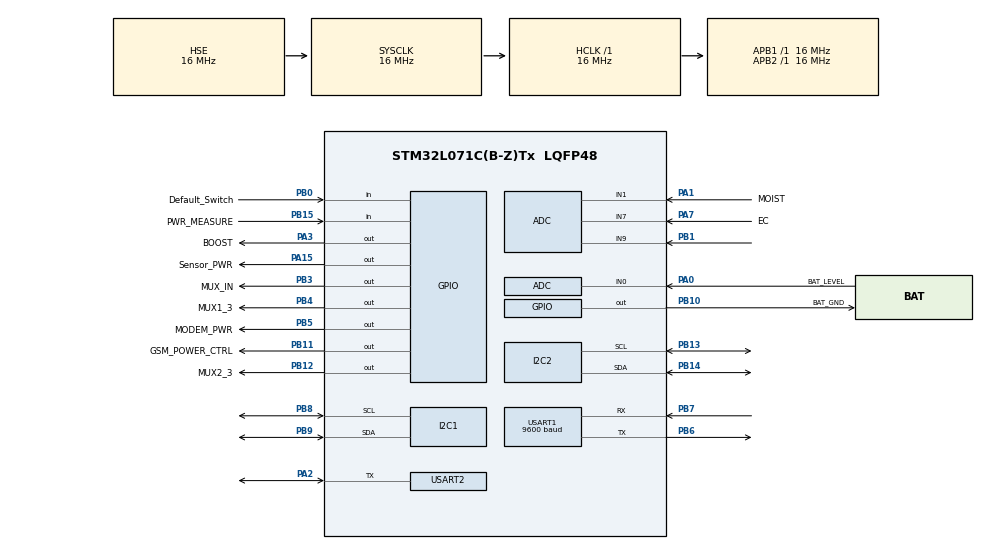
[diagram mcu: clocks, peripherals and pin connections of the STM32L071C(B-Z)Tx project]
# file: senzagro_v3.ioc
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ADC.ContinuousConvMode=ENABLE
ADC.SamplingTime=ADC_SAMPLETIME_3CYCLES_5
I2C1.Timing=0x00303D5B
I2C2.Timing=0x00303D5B
IWDG.Prescaler=IWDG_PRESCALER_256
Mcu.Family=STM32L0
Mcu.Name=STM32L071C(B-Z)Tx
Mcu.Package=LQFP48
NVIC.ADC1_COMP_IRQn=true\:0\:0\:false\:false\:true\:true\:true\:true
NVIC.RTC_IRQn=true\:0\:0\:false\:false\:true\:true\:true\:true
NVIC.USART1_IRQn=true\:3\:0\:true\:false\:true\:true\:true\:true
NVIC.USART2_IRQn=true\:0\:0\:false\:false\:true\:true\:true\:true
PA0.GPIO_Label=BAT_LEVEL
PA0.Mode=IN0
PA0.Signal=ADC_IN0
PA1.GPIO_Label=MOIST
PA1.Mode=IN1
PA1.Signal=ADC_IN1
PA15.GPIO_Label=Sensor_PWR
PA15.Signal=GPIO_Output
PA2.Mode=Half_duplex(single_wire_mode)
PA2.Signal=USART2_TX
PA3.GPIO_Label=BOOST
PA3.Signal=GPIO_Output
PA7.GPIO_Label=EC
PA7.Mode=IN7
PA7.Signal=ADC_IN7
PB0.GPIO_Label=Default_Switch
PB0.Signal=GPIO_Input
PB1.Mode=IN9
PB1.Signal=ADC_IN9
PB10.GPIO_Label=BAT_GND
PB10.Signal=GPIO_Output
PB11.GPIO_Label=GSM_POWER_CTRL
PB11.Signal=GPIO_Output
PB12.GPIO_Label=MUX2_3
PB12.Signal=GPIO_Output
PB13.Mode=I2C
PB13.Signal=I2C2_SCL
PB14.Mode=I2C
PB14.Signal=I2C2_SDA
PB15.GPIO_Label=PWR_MEASURE
PB15.Signal=GPIO_Input
PB3.GPIO_Label=MUX_IN
PB3.Signal=GPIO_Output
PB4.GPIO_Label=MUX1_3
PB4.Signal=GPIO_Output
PB5.GPIO_Label=MODEM_PWR
PB5.Signal=GPIO_Output
PB6.Mode=Asynchronous
PB6.Signal=USART1_TX
PB7.Mode=Asynchronous
PB7.Signal=USART1_RX
PB8.Mode=I2C
PB8.Signal=I2C1_SCL
PB9.Mode=I2C
PB9.Signal=I2C1_SDA
PC14-OSC32_IN.Mode=LSE-External-Oscillator
PC14-OSC32_IN.Signal=RCC_OSC32_IN
PC15-OSC32_OUT.Mode=LSE-External-Oscillator
PC15-OSC32_OUT.Signal=RCC_OSC32_OUT
PH0-OSC_IN.Mode=HSE-External-Oscillator
PH0-OSC_IN.Signal=RCC_OSC_IN
PH1-OSC_OUT.Mode=HSE-External-Oscillator
PH1-OSC_OUT.Signal=RCC_OSC_OUT
ProjectManager.HeapSize=0x200
ProjectManager.StackSize=0x400
ProjectManager.TargetToolchain=STM32CubeIDE
RCC.AHBFreq_Value=16000000
RCC.APB1Freq_Value=16000000
RCC.APB1TimFreq_Value=16000000
RCC.APB2Freq_Value=16000000
RCC.APB2TimFreq_Value=16000000
RCC.HCLKFreq_Value=16000000
RCC.HSE_VALUE=16000000
RCC.HSI16_VALUE=16000000
RCC.HSI_VALUE=16000000
RCC.MSI_VALUE=2097000
RCC.PLLDIV=RCC_PLLDIV_3
RCC.PLLSourceVirtual=RCC_PLLSOURCE_HSE
RCC.RTCClockSelection=RCC_RTCCLKSOURCE_LSE
RCC.RTCClockSelectionVirtual=RCC_RTCCLKSOURCE_LSE
RCC.SYSCLKFreq_VALUE=16000000
RCC.SYSCLKSource=RCC_SYSCLKSOURCE_HSE
RCC.VCOOutputFreq_Value=48000000
RTC.Format=RTC_FORMAT_BIN
RTC.WakeUpClock-WakeUp=RTC_WAKEUPCLOCK_RTCCLK_DIV16
RTC.WakeUpCounter-WakeUp=40960
USART1.BaudRate=9600
USART1.VirtualMode-Asynchronous=VM_ASYNC
USART2.BaudRate=9600
USART2.VirtualMode-Half_duplex(single_wire_mode)=VM_ASYNC
VP_ADC_TempSens_Input.Mode=IN-TempSens
VP_ADC_Vref_Input.Mode=IN-Vrefint
VP_IWDG_VS_IWDG.Mode=IWDG_Activate
VP_RTC_VS_RTC_Activate.Mode=RTC_Enabled
VP_RTC_VS_RTC_Calendar.Mode=RTC_Calendar
VP_RTC_VS_RTC_WakeUp_intern.Mode=WakeUp
board=custom

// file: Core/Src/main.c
/* USER CODE BEGIN Header */
/* USER CODE END Header */
#include "main.h"
#include "adc.h"
#include "i2c.h"
#include "iwdg.h"
#include "rtc.h"
#include "usart.h"
#include "gpio.h"

/* USER CODE BEGIN Includes */
#include "stm32l0xx_hal_def.h"
#include "stm32l0xx_hal.h"
#include <stdio.h>
#include <string.h>
#include <stdlib.h>
#include <math.h>

#include <ctype.h>
#include <flash_queue.h>
#include <app_conf.h>
#include <sensor_read.h>
#include <rm_config_block.h>
#include <bl_interface.h>
/* USER CODE END Includes */

/* USER CODE BEGIN PM */
//
/* USER CODE END PM */

/* USER CODE BEGIN PV */
uint32_t software_version = 30400;
/* USER CODE END PV */

void SystemClock_Config(void);
/* USER CODE BEGIN PFP */
void MainLoop();
sensor_reading get_sensor_readings();
void prepare_mqtt_msg(sensor_reading *sensor, char *mqtt);
void get_time(sensor_reading *sensor);
void store_to_flash(sensor_reading *sensor);
void publish_from_flash(int tries);
/* USER CODE END PFP */

/* USER CODE BEGIN 0 */
uint8_t wakeup = 0;
uint8_t remote_conf = 0;
flash_queue_t flashqueue;
int error = 100;
RM_ConfigBlock rm_config = {0};

/* USER CODE END 0 */

int main(void)
{
  /* USER CODE BEGIN 1 */
	//
  /* USER CODE END 1 */

  /* MCU Configuration--------------------------------------------------------*/

  /* Reset of all peripherals, Initializes the Flash interface and the Systick. */
  HAL_Init();

  /* Configure the system clock */
  SystemClock_Config();

  /* Initialize all configured peripherals */
  MX_GPIO_Init();
  MX_USART1_UART_Init();
  MX_IWDG_Init();
  MX_RTC_Init();
  MX_ADC_Init();
  MX_I2C1_Init();
  MX_I2C2_Init();
  MX_USART2_UART_Init();
  /* USER CODE BEGIN 2 */
  HAL_UART_DeInit(&huart1);
  HAL_UART_DeInit(&huart2);
  HAL_ADC_DeInit(&hadc);
  HAL_I2C_DeInit(&hi2c1);
  HAL_I2C_DeInit(&hi2c2);

  HAL_IWDG_Refresh(&hiwdg);
  error = config_rm_block_init(&rm_config);
  HAL_IWDG_Refresh(&hiwdg);

  flash_queue_init(&flashqueue);
  wakeup = 1;
  remote_conf = 1;
  HAL_IWDG_Refresh(&hiwdg);
  fota_flag_check_on_boot();
  HAL_IWDG_Refresh(&hiwdg);
  /* USER CODE END 2 */

  /* Infinite loop */
  /* USER CODE BEGIN WHILE */

	while (1)
	{
		MainLoop();
	}
    /* USER CODE END WHILE */

}

void SystemClock_Config(void)
{
  RCC_OscInitTypeDef RCC_OscInitStruct = {0};
  RCC_ClkInitTypeDef RCC_ClkInitStruct = {0};
  RCC_PeriphCLKInitTypeDef PeriphClkInit = {0};

  /** Configure the main internal regulator output voltage
  */
  __HAL_PWR_VOLTAGESCALING_CONFIG(PWR_REGULATOR_VOLTAGE_SCALE1);

  /** Configure LSE Drive Capability
  */
  HAL_PWR_EnableBkUpAccess();
  __HAL_RCC_LSEDRIVE_CONFIG(RCC_LSEDRIVE_LOW);

  /** Initializes the RCC Oscillators according to the specified parameters
  * in the RCC_OscInitTypeDef structure.
  */
  RCC_OscInitStruct.OscillatorType = RCC_OSCILLATORTYPE_LSI|RCC_OSCILLATORTYPE_HSE
                              |RCC_OSCILLATORTYPE_LSE;
  RCC_OscInitStruct.HSEState = RCC_HSE_ON;
  RCC_OscInitStruct.LSEState = RCC_LSE_ON;
  RCC_OscInitStruct.LSIState = RCC_LSI_ON;
  RCC_OscInitStruct.PLL.PLLState = RCC_PLL_NONE;
  if (HAL_RCC_OscConfig(&RCC_OscInitStruct) != HAL_OK)
  {
    Error_Handler();
  }

  /** Initializes the CPU, AHB and APB buses clocks
  */
  RCC_ClkInitStruct.ClockType = RCC_CLOCKTYPE_HCLK|RCC_CLOCKTYPE_SYSCLK
                              |RCC_CLOCKTYPE_PCLK1|RCC_CLOCKTYPE_PCLK2;
  RCC_ClkInitStruct.SYSCLKSource = RCC_SYSCLKSOURCE_HSE;
  RCC_ClkInitStruct.AHBCLKDivider = RCC_SYSCLK_DIV1;
  RCC_ClkInitStruct.APB1CLKDivider = RCC_HCLK_DIV1;
  RCC_ClkInitStruct.APB2CLKDivider = RCC_HCLK_DIV1;

  if (HAL_RCC_ClockConfig(&RCC_ClkInitStruct, FLASH_LATENCY_0) != HAL_OK)
  {
    Error_Handler();
  }
  PeriphClkInit.PeriphClockSelection = RCC_PERIPHCLK_USART1|RCC_PERIPHCLK_USART2
                              |RCC_PERIPHCLK_I2C1|RCC_PERIPHCLK_RTC;
  PeriphClkInit.Usart1ClockSelection = RCC_USART1CLKSOURCE_PCLK2;
  PeriphClkInit.Usart2ClockSelection = RCC_USART2CLKSOURCE_PCLK1;
  PeriphClkInit.I2c1ClockSelection = RCC_I2C1CLKSOURCE_PCLK1;
  PeriphClkInit.RTCClockSelection = RCC_RTCCLKSOURCE_LSE;
  if (HAL_RCCEx_PeriphCLKConfig(&PeriphClkInit) != HAL_OK)
  {
    Error_Handler();
  }
}

/* USER CODE BEGIN 4 */

void MainLoop(){
	if(wakeup){
		wakeup = 0;
		HAL_Delay(1000);
		HAL_IWDG_Refresh(&hiwdg);
		int battery = Read_Battery_Leval();
		sensor_reading new_reading = {0};

		//for testing
		// battery = 275;
		if(battery >= 270){
			//full process (read sensor and publish to server)
			HAL_IWDG_Refresh(&hiwdg);
			new_reading = get_sensor_readings();

			if(!MQTT_Ready){
				HAL_IWDG_Refresh(&hiwdg);
				HAL_UART_Init(&huart1);
				MQTT_Init(rm_config.apn, rm_config.mqtt_host, rm_config.mqtt_port, rm_config.mqtt_id,
						rm_config.mqtt_username, rm_config.mqtt_password, KEEP_ALIVE, PING_TIME);
				error = MQTT_Connect();
			}
#ifdef EXTRA_MQTT_CON_TRY
			if(error <= 0){
				//connection failed
				MQTT_Process();
			}
#endif

			if(MQTT_Ready){
				HAL_IWDG_Refresh(&hiwdg);
				get_time(&new_reading);
				new_reading.signal_strength = signalStrength;
				//publish from flash
				publish_from_flash(2);

				if(MQTT_Ready){
					//publish current data
					HAL_IWDG_Refresh(&hiwdg);
					char mqtt_msg[150] = {0};
					prepare_mqtt_msg(&new_reading, mqtt_msg);
					MQTT_Publish(rm_config.mqtt_pub_topic, mqtt_msg, 0);
				}

				if(!MQTT_Ready){
					//stored to flash
					HAL_IWDG_Refresh(&hiwdg);
					store_to_flash(&new_reading);
				}
			}else{
				//stored to flash
				HAL_IWDG_Refresh(&hiwdg);
				store_to_flash(&new_reading);
			}

			if(!remote_conf){
				HAL_IWDG_Refresh(&hiwdg);
				HAL_UART_DeInit(&huart1);
				GSM_OFF();
			}
		}else if(battery >= 261){
			//only sensor reading
			HAL_IWDG_Refresh(&hiwdg);
			new_reading = get_sensor_readings();
			//store on the flash
			HAL_IWDG_Refresh(&hiwdg);
			store_to_flash(&new_reading);
			remote_conf = 0;
		}else{
			remote_conf = 0;
		}

		if(remote_conf){
			HAL_IWDG_Refresh(&hiwdg);
			Mqtt_sub_str mqtt = {0};
			memcpy(mqtt.topic[0],rm_config.mqtt_rm_conf_topic,strlen(rm_config.mqtt_rm_conf_topic));
			mqtt.qos[0] = 0;
			mqtt.no_of_topics = 1;
			error = MQTT_Subscribe(&mqtt);

			if(error){
				HAL_IWDG_Refresh(&hiwdg);
				remote_conf = 0;
				if(mqtt_queue_count(&mqtt_data_queue)){
					set_rm_config_via_remote(&rm_config, &mqtt_data_queue);
					HAL_IWDG_Refresh(&hiwdg);
				}
			}
			HAL_IWDG_Refresh(&hiwdg);
			HAL_UART_DeInit(&huart1);
			GSM_OFF();
		}
	}

	HAL_IWDG_Refresh(&hiwdg);
	HAL_SuspendTick();
	HAL_PWR_EnterSTOPMode(PWR_LOWPOWERREGULATOR_ON, PWR_STOPENTRY_WFI);

	HAL_ResumeTick();
	SystemClock_Config();
	HAL_IWDG_Refresh(&hiwdg);
}

sensor_reading get_sensor_readings(){
	HAL_IWDG_Refresh(&hiwdg);
	PowerUp_Sensors();
#ifdef SHT2x_EN
	SHT2x_Sensor_Init();
#endif
	HAL_Delay(5000);
	HAL_IWDG_Refresh(&hiwdg);

	sensor_reading sensor = {0};
#ifdef SHT2x_Temp_EN
	sensor.SHT2x_temp = Read_Temp_SHT2x();
	HAL_IWDG_Refresh(&hiwdg);
#endif
#ifdef SHT2x_RH_EN
	sensor.SHT2x_rh = Read_RH_SHT2x();
	HAL_IWDG_Refresh(&hiwdg);
#endif
#ifdef Moist_EC_EN
	sensor.soil_moist = Read_Soil_Moisture();
	sensor.soil_ec = Read_Soil_EC();
	HAL_IWDG_Refresh(&hiwdg);
#endif
#ifdef Irro_EN
	sensor.irrometer = Read_Irrometer(3);
	HAL_IWDG_Refresh(&hiwdg);
#endif
#ifdef Light_EN
	sensor.light = Read_Light_BH1750();
	HAL_IWDG_Refresh(&hiwdg);
#endif
#ifdef DS18B20_Temp_EN
	sensor.DS18B20_temp = Read_Temp_DS18B20();
	HAL_IWDG_Refresh(&hiwdg);
#endif
	sensor.internal_temp = Read_Internal_Temp();
	sensor.battery = Read_Battery_Leval();
	HAL_IWDG_Refresh(&hiwdg);
#ifdef Power_status_EN
	sensor.power_status = Read_Power_Status();
	HAL_IWDG_Refresh(&hiwdg);
#endif
	sensor.signal_strength = signalStrength;

	get_time(&sensor);
	HAL_IWDG_Refresh(&hiwdg);

#ifdef SHT2x_EN
	SHT2x_Sensor_DeInit();
#endif
	PowerDown_Sensors();
	HAL_IWDG_Refresh(&hiwdg);
	return sensor;
}

void prepare_mqtt_msg(sensor_reading *sensor, char *mqtt){
	int sensor_count = 0;
	char data_array[15][35] = {0};
	HAL_IWDG_Refresh(&hiwdg);

	//date and time
	if(((sensor->timestamp.month == 0) && (sensor->timestamp.day == 0)
			&& (sensor->timestamp.hour == 0) && (sensor->timestamp.min == 0))){
		sprintf(data_array[0],"DT:0|");
		strncat(mqtt, data_array[0], strlen(data_array[0]));
		memset(data_array[0], 0, sizeof(data_array[0]));
	}else{
		sprintf(data_array[0],"ZZ:%02d%02d%02d%02d/%s|", sensor->timestamp.month, sensor->timestamp.day,
				sensor->timestamp.hour, sensor->timestamp.min, timeZone);
		strncat(mqtt, data_array[0], strlen(data_array[0]));
		memset(data_array[0], 0, sizeof(data_array[0]));
	}

#ifdef SHT2x_Temp_EN
	//SHT2x temperature
	sprintf(data_array[1],"-%s:%.2f;", rm_config.D_label.temp, sensor->SHT2x_temp);
#endif

#ifdef SHT2x_RH_EN
	//SHT2x relative humidity
	sprintf(data_array[2],"-%s:%.2f;", rm_config.D_label.rh, sensor->SHT2x_rh);
#endif

#ifdef Moist_EC_EN
	//soil moisture and EC
	sprintf(data_array[3],"-%s:%03d/%03d;", rm_config.D_label.mois_ec, sensor->soil_moist, sensor->soil_ec);
#endif

#ifdef Irro_EN
	//irrometer reading
	sprintf(data_array[4],"-%s:%04d/%04d/%.2f;", rm_config.D_label.irro, sensor->irrometer.A1, sensor->irrometer.A2, sensor->SHT2x_temp);
#endif

#ifdef Light_EN
	//light intensity
	sprintf(data_array[5],"-%s:%06d;", rm_config.D_label.light, sensor->light);
#endif

#ifdef DS18B20_Temp_EN
	//soil temperature (DS18b20)
	sprintf(data_array[6],"-%s:%.2f;", rm_config.D_label.soil_temp, sensor->DS18B20_temp);
#endif

	//device battery
	sprintf(data_array[7],"-%s:%03d;", rm_config.D_label.batt, sensor->battery);

	//device temp
	sprintf(data_array[8],"-%s:%02d;", rm_config.D_label.it, sensor->internal_temp);

	//signal strength
	sprintf(data_array[9],"-%s:%02d;", rm_config.D_label.ss, sensor->signal_strength);

#ifdef Power_status_EN
	//power status
	sprintf(data_array[10],"-%s:%d;", rm_config.D_label.ps, sensor->power_status);
#endif

	char inputString[50] = {0};
	memcpy(inputString,rm_config.sensor_order,strlen(rm_config.sensor_order));
    if (inputString == NULL || strlen(inputString) == 0) {
    	strncat(mqtt, "Sensor Ordering is Invalid ", 26);
        return;
    }

    char *token = strtok((char *)inputString, ",");
    while (token != NULL) {
        int index = atoi(token);
        if(index > 0 && index < 15){
        	if(strlen(data_array[index]) > 0){
            	sprintf(data_array[0],"%d",sensor_count++);
            	strncat(mqtt, data_array[0], strlen(data_array[0]));
            	strncat(mqtt, data_array[index], strlen(data_array[index]));
            	memset(data_array[0], 0, sizeof(data_array[0]));
        	}
        }
        token = strtok(NULL, ",");
    }
}

void get_time(sensor_reading *sensor){
	RTC_TimeTypeDef sTime;
	RTC_DateTypeDef sDate;
	HAL_RTC_GetTime(&hrtc, &sTime, RTC_FORMAT_BIN);
	HAL_RTC_GetDate(&hrtc, &sDate, RTC_FORMAT_BIN);

	if( (!RTC_OK) && (sDate.Year < 22) ){
		sensor->timestamp.month = 0;
		sensor->timestamp.day = 0;
		sensor->timestamp.hour = 0;
		sensor->timestamp.min = 0;
	}else{
		sensor->timestamp.month = sDate.Month;
		sensor->timestamp.day = sDate.Date;
		sensor->timestamp.hour = sTime.Hours;
		sensor->timestamp.min = sTime.Minutes;
	}
}

void store_to_flash(sensor_reading *sensor){
	flash_str new = {0};
	new.sensor = *sensor;
	flash_enqueue(&flashqueue, &new);
	HAL_IWDG_Refresh(&hiwdg);
	HAL_Delay(1);
}

void publish_from_flash(int tries){
	while(flash_queue_count(&flashqueue) && tries){
		HAL_IWDG_Refresh(&hiwdg);
		flash_str data = {0};
		flash_peek(&flashqueue, &data);

		char mqtt_msg[150] = {0};
		prepare_mqtt_msg(&data.sensor, mqtt_msg);

		if(MQTT_Publish(rm_config.mqtt_pub_topic, mqtt_msg, 0)){
			flash_dequeue(&flashqueue, &data);
			HAL_IWDG_Refresh(&hiwdg);
		}else{
			//publish failed
			tries--;
			if(!tries){
				break;
			}
			MQTT_Process();
			HAL_IWDG_Refresh(&hiwdg);
		}
	}
}

/* USER CODE END 4 */

void Error_Handler(void)
{
  /* USER CODE BEGIN Error_Handler_Debug */
	//  /* User can add his own implementation to report the HAL error return state */
	//  __disable_irq();
	//  while (1)
	//  {
	//  }
  /* USER CODE END Error_Handler_Debug */
}
